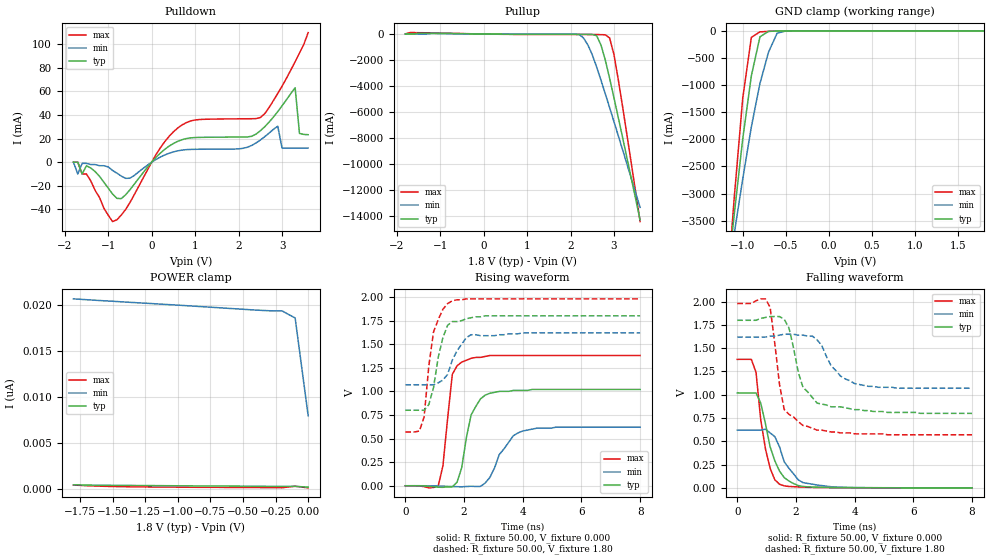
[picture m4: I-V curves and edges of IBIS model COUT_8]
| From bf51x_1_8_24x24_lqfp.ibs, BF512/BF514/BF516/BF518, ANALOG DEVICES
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|   Model prw0408swcdg_25
[Model]   COUT_8
Model_type   I/O
Polarity   Non-Inverting
Enable   Active-Low
Vinl =   0.70V
Vinh =   1.00V
Vmeas =   1.20V
Cref =  50.00pF
Rref =   1.00M
Vref =  0.000V
C_comp   4.81pF   4.33pF   5.29pF
[Temperature Range]   25.00   0.12k   -40.00
[Voltage Range]   1.80V   1.62V   1.98V
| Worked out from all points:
|   slope of the pulldown table from 0 to 0.27 V, typ, clamps not added: 27.1 ohm
|   slope of the pullup table from 0 to 0.27 V, typ, clamps not added: 26.9 ohm
|   GND clamp passes 1 mA (typ) near -0.53 V on its own axis
|   rising waveform, R_fixture 50.00, V_fixture 0.000: 20-80 % time 430ps typ, 666ps min, 273ps max; typ from 0 V to 1.02 V
|   rising waveform, R_fixture 50.00, V_fixture 1.80: 20-80 % time 392ps typ, 503ps min, 368ps max; typ from 0.8 V to 1.8 V
|   falling waveform, R_fixture 50.00, V_fixture 0.000: 20-80 % time 537ps typ, 626ps min, 387ps max; typ from 1.02 V to 0 V
|   falling waveform, R_fixture 50.00, V_fixture 1.80: 20-80 % time 633ps typ, 720ps min, 374ps max; typ from 1.8 V to 0.8 V
[Pulldown]
| voltage   I(typ)   I(min)   I(max)
-1.8V     0A         0A         0A
-1.7V     0A         -10mA      0A
-1.6V     -10mA      -1mA       -10mA
-1.4V     -5mA       -2mA       -16mA
-800mV    -30.7mA    -9.3mA     -48.85mA
500mV     15.88mA    8.74mA     25.76mA
2.5V      26.66mA    18.81mA    37.95mA
2.9V      42.91mA    30.55mA    58.28mA
3V        47.85mA    11.93mA    64.57mA
3.3V      63.16mA    11.88mA    85.3mA
3.4V      24.4mA     11.91mA    92.63mA
3.6V      23.31mA    12mA       110mA
[Pullup]
| voltage   I(typ)   I(min)   I(max)
-1.8V     1.48mA     550uA      10.03mA
-1.6V     2.84mA     560uA      110mA
2.2V      -22.71mA   -39.81mA   -37.75mA
2.3V      -23.18mA   -310mA     -37.82mA
2.4V      -25.42mA   -850mA     -37.94mA
2.6V      -130mA     -2.54A     -42.67mA
2.7V      -850mA     -3.56A     -49.75mA
2.8V      -2.01A     -4.61A     -61.08mA
2.9V      -3.43A     -5.68A     -310mA
3V        -4.93A     -6.76A     -1.61A
3.1V      -6.46A     -7.85A     -3.55A
3.6V      -14.31A    -13.35A    -14.44A
[GND_clamp]
| voltage   I(typ)   I(min)   I(max)
-1.8V     -14.28A    -11.35A    -18.41A
-1.2V     -4.9A      -4.81A     -5.19A
-1.1V     -3.4A      -3.75A     -3.1A
-1V       -1.99A     -2.73A     -1.24A
-900mV    -830mA     -1.77A     -120mA
-800mV    -110mA     -970mA     -19.21mA
-700mV    -9.89mA    -390mA     -9.78mA
-600mV    -2.57mA    -42.87mA   -3.5mA
-500mV    -460uA     -4.38mA    -550uA
1.8V      170pA      19.28nA    82.46pA
[POWER_clamp]
| voltage   I(typ)   I(min)   I(max)
-1.8V     420pA      20.63nA    400pA
-1.5V     370pA      20.37nA    240pA
-1.3V     350pA      20.2nA     200pA
-400mV    270pA      19.41nA    130pA
-200mV    260pA      19.32nA    110pA
-100mV    260pA      18.55nA    270pA
0V        170pA      7.92nA     95.65pA
[Ramp]
| variable   typ   min   max
dV/dt_r   0.61/0.48n   0.37/0.67n   0.83/0.28n
dV/dt_f   0.60/0.65n   0.33/0.73n   0.84/0.37n
R_load = 50.00
[Rising Waveform]
R_fixture = 50.00
V_fixture = 0.000
V_fixture_min = 0.000
V_fixture_max = 0.000
L_fixture = 0.000H
C_fixture = 0.000F
| time   V(typ)   V(min)   V(max)
0s        0V         0V         0V
1.12ns    -15.49mV   -2.64mV    -1.94mV
1.28ns    -16.64mV   -4.27mV    210mV
1.6ns     -11.55mV   -8.42mV    1.18V
1.92ns    190mV      -10.99mV   1.31V
2.24ns    750mV      -5.47mV    1.35V
2.72ns    960mV      29.12mV    1.37V
3.2ns     1V         330mV      1.38V
4ns       1.01V      580mV      1.38V
8ns       1.02V      620mV      1.38V
[Rising Waveform]
R_fixture = 50.00
V_fixture = 1.80
V_fixture_min = 1.62
V_fixture_max = 1.98
L_fixture = 0.000H
C_fixture = 0.000F
| time   V(typ)   V(min)   V(max)
0s        800mV      1.07V      570mV
480ps     800mV      1.07V      580mV
640ps     800mV      1.07V      730mV
800ps     860mV      1.07V      1.27V
960ps     1.04V      1.07V      1.63V
1.12ns    1.36V      1.09V      1.76V
1.28ns    1.57V      1.12V      1.87V
1.6ns     1.74V      1.33V      1.96V
2.24ns    1.78V      1.6V       1.98V
8ns       1.8V       1.62V      1.98V
[Falling Waveform]
R_fixture = 50.00
V_fixture = 0.000
V_fixture_min = 0.000
V_fixture_max = 0.000
L_fixture = 0.000H
C_fixture = 0.000F
| time   V(typ)   V(min)   V(max)
0s        1.02V      620mV      1.38V
480ps     1.02V      620mV      1.38V
640ps     1.02V      620mV      1.24V
800ps     910mV      620mV      730mV
960ps     690mV      630mV      420mV
1.12ns    440mV      590mV      210mV
1.44ns    180mV      440mV      38.63mV
1.6ns     110mV      280mV      21.04mV
2.24ns    15.2mV     56.58mV    6.95mV
8ns       40.15uV    66.62uV    5.02uV
[Falling Waveform]
R_fixture = 50.00
V_fixture = 1.80
V_fixture_min = 1.62
V_fixture_max = 1.98
L_fixture = 0.000H
C_fixture = 0.000F
| time   V(typ)   V(min)   V(max)
0s        1.8V       1.62V      1.98V
1.12ns    1.84V      1.63V      1.94V
1.44ns    1.84V      1.64V      1.11V
1.6ns     1.81V      1.65V      840mV
1.76ns    1.72V      1.65V      790mV
2.24ns    1.08V      1.64V      670mV
2.72ns    910mV      1.59V      620mV
3.2ns     870mV      1.31V      600mV
4ns       840mV      1.12V      580mV
8ns       800mV      1.07V      570mV
